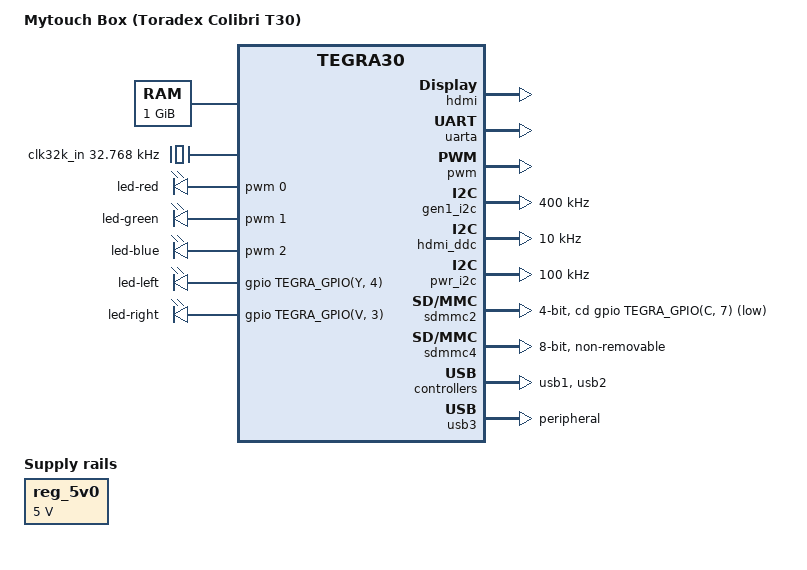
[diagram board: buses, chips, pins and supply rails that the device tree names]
// SPDX-License-Identifier: GPL-2.0
/dts-v1/;

#include <dt-bindings/input/input.h>
#include "tegra30.dtsi"

/ {
	model = "Mytouch Box (Toradex Colibri T30)";
	compatible = "mytouch,box", "nvidia,tegra30";

	chosen {
		stdout-path = &uarta;
	};

	aliases {
		i2c0 = &pwr_i2c;
		i2c1 = &gen1_i2c;
		i2c2 = &hdmi_ddc;

		mmc0 = &sdmmc4;
		mmc1 = &sdmmc2;

		usb0 = &usb1;
		usb1 = &usb2; /* on module only, for ASIX Ethernet */
		usb2 = &usb3;
	};

	memory {
		device_type = "memory";
		reg = <0x80000000 0x40000000>;
	};

	sysinfo {
		compatible = "toradex,sysinfo";
	};

	host1x@50000000 {
		dc@54200000 {
			status = "disabled";
		};

		hdmi: hdmi@54280000 {
			status = "okay";

			hdmi-supply = <&reg_5v0>;
			//pll-supply = <&reg_1v8_avdd_hdmi_pll>;
			//vdd-supply = <&reg_3v3_avdd_hdmi>;

			nvidia,hpd-gpio = <&gpio TEGRA_GPIO(N, 7) GPIO_ACTIVE_HIGH>;
			nvidia,ddc-i2c-bus = <&hdmi_ddc>;
		};
	};

	bsev@6001b000 {
		status = "okay";
	};

	pinmux@70000868 {
		pinctrl-names = "default";
		pinctrl-0 = <&state_default>;

		state_default: pinmux {
			led-rgb-red {
				nvidia,pins = "sdmmc3_dat3_pb4";
				nvidia,function = "pwm0";
				nvidia,pull = <TEGRA_PIN_PULL_NONE>;
				nvidia,tristate = <TEGRA_PIN_DISABLE>;
				nvidia,enable-input = <TEGRA_PIN_DISABLE>;
			};
			led-rgb-green {
				nvidia,pins = "sdmmc3_dat2_pb5";
				nvidia,function = "pwm1";
				nvidia,pull = <TEGRA_PIN_PULL_NONE>;
				nvidia,tristate = <TEGRA_PIN_DISABLE>;
				nvidia,enable-input = <TEGRA_PIN_DISABLE>;
			};
			led-rgb-blue {
				nvidia,pins = "sdmmc3_clk_pa6";
				nvidia,function = "pwm2";
				nvidia,pull = <TEGRA_PIN_PULL_NONE>;
				nvidia,tristate = <TEGRA_PIN_DISABLE>;
				nvidia,enable-input = <TEGRA_PIN_DISABLE>;
			};


			leds-green {
				nvidia,pins = "sdmmc1_dat3_py4",
						"pv3";
				nvidia,function = "rsvd1";
				nvidia,pull = <TEGRA_PIN_PULL_NONE>;
				nvidia,tristate = <TEGRA_PIN_DISABLE>;
				nvidia,enable-input = <TEGRA_PIN_DISABLE>;
			};

			sdmmc4-cmd-pt7 {
				nvidia,pins = "sdmmc4_cmd_pt7",
						"sdmmc4_dat0_paa0",
						"sdmmc4_dat1_paa1",
						"sdmmc4_dat2_paa2",
						"sdmmc4_dat3_paa3",
						"sdmmc4_dat4_paa4",
						"sdmmc4_dat5_paa5",
						"sdmmc4_dat6_paa6",
						"sdmmc4_dat7_paa7";
				nvidia,function = "sdmmc4";
				nvidia,pull = <TEGRA_PIN_PULL_UP>;
				nvidia,tristate = <TEGRA_PIN_DISABLE>;
				nvidia,enable-input = <TEGRA_PIN_ENABLE>;
			};
			sdmmc4-rst-n-pcc3 {
				nvidia,pins = "sdmmc4_rst_n_pcc3";
				nvidia,function = "rsvd1";
				nvidia,pull = <TEGRA_PIN_PULL_DOWN>;
				nvidia,tristate = <TEGRA_PIN_DISABLE>;
				nvidia,enable-input = <TEGRA_PIN_ENABLE>;
			};
			sdmmc4-clk-pcc4 {
				nvidia,pins = "sdmmc4_clk_pcc4";
				nvidia,function = "sdmmc4";
				nvidia,pull = <TEGRA_PIN_PULL_NONE>;
				nvidia,tristate = <TEGRA_PIN_DISABLE>;
				nvidia,enable-input = <TEGRA_PIN_ENABLE>;
			};

			ddc-scl-pv4 {
				nvidia,pins = "ddc_scl_pv4",
						"ddc_sda_pv5";
				nvidia,function = "i2c4";
				nvidia,pull = <TEGRA_PIN_PULL_NONE>;
				nvidia,tristate = <TEGRA_PIN_DISABLE>;
				nvidia,enable-input = <TEGRA_PIN_ENABLE>;
			};

			clk-32k-out-pa0 {
				nvidia,pins = "clk_32k_out_pa0";
				nvidia,function = "blink";
				nvidia,pull = <TEGRA_PIN_PULL_NONE>;
				nvidia,tristate = <TEGRA_PIN_DISABLE>;
				nvidia,enable-input = <TEGRA_PIN_DISABLE>;
			};

			uart3-cts-n-pa1 {
				nvidia,pins = "uart3_cts_n_pa1",
						"uart3_rts_n_pc0",
						"gmi_wp_n_pc7",
						"uart2_cts_n_pj5",
						"uart2_rts_n_pj6",
						"uart3_txd_pw6",
						"uart3_rxd_pw7",
						"spi2_sck_px2",
						"spi1_mosi_px4",
						"spi1_sck_px5",
						"spi1_cs0_n_px6";
				nvidia,function = "gmi";
				nvidia,pull = <TEGRA_PIN_PULL_NONE>;
				nvidia,tristate = <TEGRA_PIN_DISABLE>;
				nvidia,enable-input = <TEGRA_PIN_ENABLE>;
			};

			dap2-fs-pa2 {
				nvidia,pins = "dap2_fs_pa2",
						"dap2_sclk_pa3",
						"dap2_din_pa4",
						"dap2_dout_pa5";
				nvidia,function = "i2s1";
				nvidia,pull = <TEGRA_PIN_PULL_NONE>;
				nvidia,tristate = <TEGRA_PIN_DISABLE>;
				nvidia,enable-input = <TEGRA_PIN_ENABLE>;
			};

			sdmmc3-cmd-pa7 {
				nvidia,pins = "sdmmc3_cmd_pa7",
						"sdmmc3_dat1_pb6",
						"sdmmc3_dat0_pb7",
						"sdmmc3_dat5_pd0",
						"sdmmc3_dat4_pd1";
				nvidia,function = "sdmmc3";
				nvidia,pull = <TEGRA_PIN_PULL_UP>;
				nvidia,tristate = <TEGRA_PIN_DISABLE>;
				nvidia,enable-input = <TEGRA_PIN_ENABLE>;
			};

			gmi-a17-pb0 {
				nvidia,pins = "gmi_a17_pb0";
				nvidia,function = "uartd";
				nvidia,pull = <TEGRA_PIN_PULL_UP>;
				nvidia,tristate = <TEGRA_PIN_DISABLE>;
				nvidia,enable-input = <TEGRA_PIN_ENABLE>;
			};
			gmi-a18-pb1 {
				nvidia,pins = "gmi_a18_pb1",
						"gmi_a16_pj7",
						"gmi_a19_pk7";
				nvidia,function = "uartd";
				nvidia,pull = <TEGRA_PIN_PULL_NONE>;
				nvidia,tristate = <TEGRA_PIN_DISABLE>;
				nvidia,enable-input = <TEGRA_PIN_ENABLE>;
			};

			lcd-pwr0-pb2 {
				nvidia,pins = "lcd_pwr0_pb2",
						"lcd_pclk_pb3",
						"lcd_pwr1_pc1",
						"lcd_pwr2_pc6",
						"lcd_dc1_pd2",
						"lcd_d0_pe0",
						"lcd_d1_pe1",
						"lcd_d2_pe2",
						"lcd_d3_pe3",
						"lcd_d4_pe4",
						"lcd_d5_pe5",
						"lcd_d6_pe6",
						"lcd_d7_pe7",
						"lcd_d8_pf0",
						"lcd_d9_pf1",
						"lcd_d10_pf2",
						"lcd_d11_pf3",
						"lcd_d12_pf4",
						"lcd_d13_pf5",
						"lcd_d14_pf6",
						"lcd_d15_pf7",
						"lcd_de_pj1",
						"lcd_hsync_pj3",
						"lcd_vsync_pj4",
						"lcd_d16_pm0",
						"lcd_d17_pm1",
						"lcd_d18_pm2",
						"lcd_d19_pm3",
						"lcd_d20_pm4",
						"lcd_d21_pm5",
						"lcd_d22_pm6",
						"lcd_d23_pm7",
						"lcd_cs0_n_pn4",
						"lcd_sdout_pn5",
						"lcd_dc0_pn6",
						"lcd_cs1_n_pw0",
						"lcd_m1_pw1",
						"lcd_sdin_pz2",
						"lcd_wr_n_pz3",
						"lcd_sck_pz4";
				nvidia,function = "displaya";
				nvidia,pull = <TEGRA_PIN_PULL_NONE>;
				nvidia,tristate = <TEGRA_PIN_DISABLE>;
				nvidia,enable-input = <TEGRA_PIN_ENABLE>;
			};

			uart2-txd-pc2 {
				nvidia,pins = "uart2_txd_pc2";
				nvidia,function = "uartb";
				nvidia,pull = <TEGRA_PIN_PULL_NONE>;
				nvidia,tristate = <TEGRA_PIN_DISABLE>;
				nvidia,enable-input = <TEGRA_PIN_ENABLE>;
			};
			uart2-rxd-pc3 {
				nvidia,pins = "uart2_rxd_pc3";
				nvidia,function = "uartb";
				nvidia,pull = <TEGRA_PIN_PULL_UP>;
				nvidia,tristate = <TEGRA_PIN_DISABLE>;
				nvidia,enable-input = <TEGRA_PIN_ENABLE>;
			};

			gen1-i2c-scl-pc4 {
				nvidia,pins = "gen1_i2c_scl_pc4",
						"gen1_i2c_sda_pc5";
				nvidia,function = "i2c1";
				nvidia,pull = <TEGRA_PIN_PULL_NONE>;
				nvidia,tristate = <TEGRA_PIN_DISABLE>;
				nvidia,enable-input = <TEGRA_PIN_ENABLE>;
				nvidia,open-drain = <TEGRA_PIN_ENABLE>;
			};

			sdmmc3-dat6-pd3 {
				nvidia,pins = "sdmmc3_dat6_pd3",
						"sdmmc3_dat7_pd4",
						"vi_vsync_pd6",
						"vi_hsync_pd7",
						"ulpi_data3_po4",
						"vi_d10_pt2",
						"vi_d0_pt4",
						"pu0",
						"pu2",
						"pu3",
						"pu6",
						"sdmmc1_dat2_py5",
						"sdmmc1_dat1_py6",
						"sdmmc1_dat0_py7",
						"sdmmc1_clk_pz0",
						"sdmmc1_cmd_pz1";
				nvidia,function = "rsvd1";
				nvidia,pull = <TEGRA_PIN_PULL_NONE>;
				nvidia,tristate = <TEGRA_PIN_DISABLE>;
				nvidia,enable-input = <TEGRA_PIN_ENABLE>;
			};

			vi-d1-pd5 {
				nvidia,pins = "vi_d1_pd5",
						"vi_d2_pl0",
						"vi_d3_pl1",
						"vi_d5_pl3",
						"vi_d7_pl5",
						"kb_row10_ps2";
				nvidia,function = "sdmmc2";
				nvidia,pull = <TEGRA_PIN_PULL_NONE>;
				nvidia,tristate = <TEGRA_PIN_DISABLE>;
				nvidia,enable-input = <TEGRA_PIN_ENABLE>;
			};

			gmi-ad0-pg0 {
				nvidia,pins = "gmi_ad0_pg0",
						"gmi_ad1_pg1",
						"gmi_ad2_pg2",
						"gmi_ad3_pg3",
						"gmi_ad4_pg4",
						"gmi_ad5_pg5",
						"gmi_ad6_pg6",
						"gmi_ad7_pg7",
						"gmi_wr_n_pi0",
						"gmi_oe_n_pi1",
						"gmi_dqs_pi2",
						"gmi_adv_n_pk0",
						"gmi_clk_pk1";
				nvidia,function = "nand";
				nvidia,pull = <TEGRA_PIN_PULL_NONE>;
				nvidia,tristate = <TEGRA_PIN_ENABLE>;
				nvidia,enable-input = <TEGRA_PIN_DISABLE>;
			};

			gmi-ad8-ph0 {
				nvidia,pins = "gmi_ad8_ph0";
				nvidia,function = "pwm0";
				nvidia,pull = <TEGRA_PIN_PULL_NONE>;
				nvidia,tristate = <TEGRA_PIN_DISABLE>;
				nvidia,enable-input = <TEGRA_PIN_DISABLE>;
			};

			gmi-ad9-ph1 {
				nvidia,pins = "gmi_ad9_ph1",
						"pu4";
				nvidia,function = "pwm1";
				nvidia,pull = <TEGRA_PIN_PULL_NONE>;
				nvidia,tristate = <TEGRA_PIN_DISABLE>;
				nvidia,enable-input = <TEGRA_PIN_DISABLE>;
			};

			gmi-ad10-ph2 {
				nvidia,pins = "gmi_ad10_ph2",
						"gmi_ad11_ph3",
						"gmi_ad14_ph6",
						"gmi_cs3_n_pk4";
				nvidia,function = "nand";
				nvidia,pull = <TEGRA_PIN_PULL_NONE>;
				nvidia,tristate = <TEGRA_PIN_DISABLE>;
				nvidia,enable-input = <TEGRA_PIN_DISABLE>;
			};
			gmi-ad12-ph4 {
				nvidia,pins = "gmi_ad12_ph4",
						"gmi_ad13_ph5",
						"gmi_cs7_n_pi6";
				nvidia,function = "nand";
				nvidia,pull = <TEGRA_PIN_PULL_UP>;
				nvidia,tristate = <TEGRA_PIN_DISABLE>;
				nvidia,enable-input = <TEGRA_PIN_ENABLE>;
			};

			gmi-iordy-pi5 {
				nvidia,pins = "gmi_iordy_pi5",
						"gmi_cs2_n_pk3",
						"vi_d11_pt3",
						"pv0";
				nvidia,function = "rsvd1";
				nvidia,pull = <TEGRA_PIN_PULL_UP>;
				nvidia,tristate = <TEGRA_PIN_DISABLE>;
				nvidia,enable-input = <TEGRA_PIN_ENABLE>;
			};

			gmi-wait-pi7 {
				nvidia,pins = "gmi_wait_pi7";
				nvidia,function = "nand";
				nvidia,pull = <TEGRA_PIN_PULL_UP>;
				nvidia,tristate = <TEGRA_PIN_ENABLE>;
				nvidia,enable-input = <TEGRA_PIN_DISABLE>;
			};

			spdif-out-pk5 {
				nvidia,pins = "spdif_out_pk5";
				nvidia,function = "spdif";
				nvidia,pull = <TEGRA_PIN_PULL_NONE>;
				nvidia,tristate = <TEGRA_PIN_DISABLE>;
				nvidia,enable-input = <TEGRA_PIN_DISABLE>;
			};
			spdif-in-pk6 {
				nvidia,pins = "spdif_in_pk6";
				nvidia,function = "spdif";
				nvidia,pull = <TEGRA_PIN_PULL_NONE>;
				nvidia,tristate = <TEGRA_PIN_DISABLE>;
				nvidia,enable-input = <TEGRA_PIN_ENABLE>;
			};

			vi-d4-pl2 {
				nvidia,pins = "vi_d4_pl2",
						"vi_d6_pl4";
				nvidia,function = "vi";
				nvidia,pull = <TEGRA_PIN_PULL_NONE>;
				nvidia,tristate = <TEGRA_PIN_DISABLE>;
				nvidia,enable-input = <TEGRA_PIN_DISABLE>;
			};
			vi-d8-pl6 {
				nvidia,pins = "vi_d8_pl6",
						"vi_d9_pl7";
				nvidia,function = "vi";
				nvidia,pull = <TEGRA_PIN_PULL_NONE>;
				nvidia,tristate = <TEGRA_PIN_DISABLE>;
				nvidia,enable-input = <TEGRA_PIN_ENABLE>;
			};

			dap1-fs-pn0 {
				nvidia,pins = "dap1_fs_pn0",
						"dap1_din_pn1",
						"dap1_dout_pn2",
						"dap1_sclk_pn3";
				nvidia,function = "i2s0";
				nvidia,pull = <TEGRA_PIN_PULL_NONE>;
				nvidia,tristate = <TEGRA_PIN_DISABLE>;
				nvidia,enable-input = <TEGRA_PIN_ENABLE>;
			};

			hdmi-int-pn7 {
				nvidia,pins = "hdmi_int_pn7",
						"pbb0",
						"pcc1";
				nvidia,function = "rsvd1";
				nvidia,pull = <TEGRA_PIN_PULL_NONE>;
				nvidia,tristate = <TEGRA_PIN_ENABLE>;
				nvidia,enable-input = <TEGRA_PIN_ENABLE>;
			};

			ulpi-data7-po0 {
				nvidia,pins = "ulpi_data7_po0",
						"ulpi_data0_po1";
				nvidia,function = "uarta";
				nvidia,pull = <TEGRA_PIN_PULL_NONE>;
				nvidia,tristate = <TEGRA_PIN_DISABLE>;
				nvidia,enable-input = <TEGRA_PIN_DISABLE>;
			};
			ulpi-data1-po2 {
				nvidia,pins = "ulpi_data1_po2";
				nvidia,function = "uarta";
				nvidia,pull = <TEGRA_PIN_PULL_UP>;
				nvidia,tristate = <TEGRA_PIN_DISABLE>;
				nvidia,enable-input = <TEGRA_PIN_ENABLE>;
			};
			ulpi-data2-po3 {
				nvidia,pins = "ulpi_data2_po3",
						"ulpi_data4_po5",
						"ulpi_data5_po6",
						"ulpi_data6_po7";
				nvidia,function = "uarta";
				nvidia,pull = <TEGRA_PIN_PULL_NONE>;
				nvidia,tristate = <TEGRA_PIN_DISABLE>;
				nvidia,enable-input = <TEGRA_PIN_ENABLE>;
			};

			dap3-fs-pp0 {
				nvidia,pins = "dap3_fs_pp0",
						"dap3_din_pp1",
						"dap3_dout_pp2",
						"dap3_sclk_pp3";
				nvidia,function = "i2s2";
				nvidia,pull = <TEGRA_PIN_PULL_NONE>;
				nvidia,tristate = <TEGRA_PIN_DISABLE>;
				nvidia,enable-input = <TEGRA_PIN_ENABLE>;
			};

			dap4-fs-pp4 {
				nvidia,pins = "dap4_fs_pp4",
						"dap4_din_pp5",
						"dap4_dout_pp6",
						"dap4_sclk_pp7";
				nvidia,function = "i2s3";
				nvidia,pull = <TEGRA_PIN_PULL_NONE>;
				nvidia,tristate = <TEGRA_PIN_DISABLE>;
				nvidia,enable-input = <TEGRA_PIN_ENABLE>;
			};

			kb-col0-pq0 {
				nvidia,pins = "kb_col0_pq0",
						"kb_col1_pq1",
						"kb_col2_pq2",
						"kb_col3_pq3",
						"kb_col4_pq4",
						"kb_col5_pq5",
						"kb_col6_pq6",
						"kb_col7_pq7";
				nvidia,function = "kbc";
				nvidia,pull = <TEGRA_PIN_PULL_UP>;
				nvidia,tristate = <TEGRA_PIN_DISABLE>;
				nvidia,enable-input = <TEGRA_PIN_ENABLE>;
			};

			kb-row0-pr0 {
				nvidia,pins = "kb_row0_pr0",
						"kb_row1_pr1",
						"kb_row2_pr2",
						"kb_row3_pr3";
				nvidia,function = "rsvd2";
				nvidia,pull = <TEGRA_PIN_PULL_NONE>;
				nvidia,tristate = <TEGRA_PIN_ENABLE>;
				nvidia,enable-input = <TEGRA_PIN_ENABLE>;
			};

			kb-row4-pr4 {
				nvidia,pins = "kb_row4_pr4";
				nvidia,function = "rsvd3";
				nvidia,pull = <TEGRA_PIN_PULL_NONE>;
				nvidia,tristate = <TEGRA_PIN_ENABLE>;
				nvidia,enable-input = <TEGRA_PIN_ENABLE>;
			};

			kb-row5-pr5 {
				nvidia,pins = "kb_row5_pr5",
						"kb_row6_pr6",
						"kb_row7_pr7",
						"kb_row8_ps0",
						"kb_row9_ps1";
				nvidia,function = "kbc";
				nvidia,pull = <TEGRA_PIN_PULL_NONE>;
				nvidia,tristate = <TEGRA_PIN_ENABLE>;
				nvidia,enable-input = <TEGRA_PIN_ENABLE>;
			};

			kb-row11-ps3 {
				nvidia,pins = "kb_row11_ps3",
						"kb_row12_ps4",
						"kb_row13_ps5",
						"kb_row14_ps6",
						"kb_row15_ps7";
				nvidia,function = "sdmmc2";
				nvidia,pull = <TEGRA_PIN_PULL_UP>;
				nvidia,tristate = <TEGRA_PIN_DISABLE>;
				nvidia,enable-input = <TEGRA_PIN_ENABLE>;
			};

			vi-pclk-pt0 {
				nvidia,pins = "vi_pclk_pt0";
				nvidia,function = "rsvd1";
				nvidia,pull = <TEGRA_PIN_PULL_UP>;
				nvidia,tristate = <TEGRA_PIN_ENABLE>;
				nvidia,enable-input = <TEGRA_PIN_ENABLE>;
			};

			vi-mclk-pt1 {
				nvidia,pins = "vi_mclk_pt1";
				nvidia,function = "vi";
				nvidia,pull = <TEGRA_PIN_PULL_UP>;
				nvidia,tristate = <TEGRA_PIN_DISABLE>;
				nvidia,enable-input = <TEGRA_PIN_ENABLE>;
			};

			gen2-i2c-scl-pt5 {
				nvidia,pins = "gen2_i2c_scl_pt5",
						"gen2_i2c_sda_pt6";
				nvidia,function = "i2c2";
				nvidia,pull = <TEGRA_PIN_PULL_NONE>;
				nvidia,tristate = <TEGRA_PIN_DISABLE>;
				nvidia,enable-input = <TEGRA_PIN_ENABLE>;
				nvidia,open-drain = <TEGRA_PIN_DISABLE>;
			};

			pu1 {
				nvidia,pins = "pu1";
				nvidia,function = "rsvd1";
				nvidia,pull = <TEGRA_PIN_PULL_NONE>;
				nvidia,tristate = <TEGRA_PIN_DISABLE>;
				nvidia,enable-input = <TEGRA_PIN_DISABLE>;
			};

			pu5 {
				nvidia,pins = "pu5";
				nvidia,function = "pwm2";
				nvidia,pull = <TEGRA_PIN_PULL_NONE>;
				nvidia,tristate = <TEGRA_PIN_DISABLE>;
				nvidia,enable-input = <TEGRA_PIN_DISABLE>;
			};

			jtag-rtck-pu7 {
				nvidia,pins = "jtag_rtck_pu7";
				nvidia,function = "rtck";
				nvidia,pull = <TEGRA_PIN_PULL_NONE>;
				nvidia,tristate = <TEGRA_PIN_DISABLE>;
				nvidia,enable-input = <TEGRA_PIN_DISABLE>;
			};

			pv2 {
				nvidia,pins = "pv2";
				nvidia,function = "owr";
				nvidia,pull = <TEGRA_PIN_PULL_NONE>;
				nvidia,tristate = <TEGRA_PIN_DISABLE>;
				nvidia,enable-input = <TEGRA_PIN_DISABLE>;
			};

			crt-hsync-pv6 {
				nvidia,pins = "crt_hsync_pv6",
						"crt_vsync_pv7";
				nvidia,function = "crt";
				nvidia,pull = <TEGRA_PIN_PULL_NONE>;
				nvidia,tristate = <TEGRA_PIN_DISABLE>;
				nvidia,enable-input = <TEGRA_PIN_DISABLE>;
			};

			spi2-cs1-n-pw2 {
				nvidia,pins = "spi2_cs1_n_pw2";
				nvidia,function = "spi2";
				nvidia,pull = <TEGRA_PIN_PULL_UP>;
				nvidia,tristate = <TEGRA_PIN_DISABLE>;
				nvidia,enable-input = <TEGRA_PIN_ENABLE>;
			};

			clk1-out-pw4 {
				nvidia,pins = "clk1_out_pw4";
				nvidia,function = "extperiph1";
				nvidia,pull = <TEGRA_PIN_PULL_NONE>;
				nvidia,tristate = <TEGRA_PIN_DISABLE>;
				nvidia,enable-input = <TEGRA_PIN_ENABLE>;
			};

			clk2-out-pw5 {
				nvidia,pins = "clk2_out_pw5";
				nvidia,function = "extperiph2";
				nvidia,pull = <TEGRA_PIN_PULL_NONE>;
				nvidia,tristate = <TEGRA_PIN_DISABLE>;
				nvidia,enable-input = <TEGRA_PIN_ENABLE>;
			};

			spi1-miso-px7 {
				nvidia,pins = "spi1_miso_px7";
				nvidia,function = "rsvd4";
				nvidia,pull = <TEGRA_PIN_PULL_NONE>;
				nvidia,tristate = <TEGRA_PIN_DISABLE>;
				nvidia,enable-input = <TEGRA_PIN_ENABLE>;
			};

			ulpi-clk-py0 {
				nvidia,pins = "ulpi_clk_py0",
						"ulpi_dir_py1",
						"ulpi_nxt_py2",
						"ulpi_stp_py3";
				nvidia,function = "spi1";
				nvidia,pull = <TEGRA_PIN_PULL_NONE>;
				nvidia,tristate = <TEGRA_PIN_DISABLE>;
				nvidia,enable-input = <TEGRA_PIN_ENABLE>;
			};

			sys-clk-req-pz5 {
				nvidia,pins = "sys_clk_req_pz5";
				nvidia,function = "sysclk";
				nvidia,pull = <TEGRA_PIN_PULL_NONE>;
				nvidia,tristate = <TEGRA_PIN_DISABLE>;
				nvidia,enable-input = <TEGRA_PIN_DISABLE>;
			};

			pwr-i2c-scl-pz6 {
				nvidia,pins = "pwr_i2c_scl_pz6",
						"pwr_i2c_sda_pz7";
				nvidia,function = "i2cpwr";
				nvidia,pull = <TEGRA_PIN_PULL_NONE>;
				nvidia,tristate = <TEGRA_PIN_DISABLE>;
				nvidia,enable-input = <TEGRA_PIN_ENABLE>;
				nvidia,open-drain = <TEGRA_PIN_ENABLE>;
			};

			cam-i2c-scl-pbb1 {
				nvidia,pins = "cam_i2c_scl_pbb1",
						"cam_i2c_sda_pbb2";
				nvidia,function = "i2c3";
				nvidia,pull = <TEGRA_PIN_PULL_NONE>;
				nvidia,tristate = <TEGRA_PIN_ENABLE>;
				nvidia,enable-input = <TEGRA_PIN_ENABLE>;
				nvidia,open-drain = <TEGRA_PIN_ENABLE>;
			};

			pbb3 {
				nvidia,pins = "pbb3";
				nvidia,function = "vgp3";
				nvidia,pull = <TEGRA_PIN_PULL_NONE>;
				nvidia,tristate = <TEGRA_PIN_ENABLE>;
				nvidia,enable-input = <TEGRA_PIN_ENABLE>;
			};
			pbb4 {
				nvidia,pins = "pbb4";
				nvidia,function = "vgp4";
				nvidia,pull = <TEGRA_PIN_PULL_NONE>;
				nvidia,tristate = <TEGRA_PIN_DISABLE>;
				nvidia,enable-input = <TEGRA_PIN_ENABLE>;
			};
			pbb5 {
				nvidia,pins = "pbb5";
				nvidia,function = "vgp5";
				nvidia,pull = <TEGRA_PIN_PULL_NONE>;
				nvidia,tristate = <TEGRA_PIN_DISABLE>;
				nvidia,enable-input = <TEGRA_PIN_ENABLE>;
			};
			pbb6 {
				nvidia,pins = "pbb6";
				nvidia,function = "vgp6";
				nvidia,pull = <TEGRA_PIN_PULL_NONE>;
				nvidia,tristate = <TEGRA_PIN_DISABLE>;
				nvidia,enable-input = <TEGRA_PIN_ENABLE>;
			};

			pbb7 {
				nvidia,pins = "pbb7",
						"pcc2";
				nvidia,function = "i2s4";
				nvidia,pull = <TEGRA_PIN_PULL_NONE>;
				nvidia,tristate = <TEGRA_PIN_DISABLE>;
				nvidia,enable-input = <TEGRA_PIN_ENABLE>;
			};

			cam-mclk-pcc0 {
				nvidia,pins = "cam_mclk_pcc0";
				nvidia,function = "vi_alt2";
				nvidia,pull = <TEGRA_PIN_PULL_UP>;
				nvidia,tristate = <TEGRA_PIN_ENABLE>;
				nvidia,enable-input = <TEGRA_PIN_ENABLE>;
			};

			clk2-req-pcc5 {
				nvidia,pins = "clk2_req_pcc5",
						"clk1_req_pee2";
				nvidia,function = "dap";
				nvidia,pull = <TEGRA_PIN_PULL_NONE>;
				nvidia,tristate = <TEGRA_PIN_DISABLE>;
				nvidia,enable-input = <TEGRA_PIN_ENABLE>;
			};

			pex-l2-rst-n-pcc6 {
				nvidia,pins = "pex_l2_rst_n_pcc6",
						"pex_l0_rst_n_pdd1",
						"pex_l1_rst_n_pdd5";
				nvidia,function = "pcie";
				nvidia,pull = <TEGRA_PIN_PULL_NONE>;
				nvidia,tristate = <TEGRA_PIN_DISABLE>;
				nvidia,enable-input = <TEGRA_PIN_DISABLE>;
			};
			pex-l2-clkreq-n-pcc7 {
				nvidia,pins = "pex_l2_clkreq_n_pcc7",
						"pex_wake_n_pdd3",
						"pex_l1_prsnt_n_pdd4",
						"pex_l1_clkreq_n_pdd6",
						"pex_l2_prsnt_n_pdd7";
				nvidia,function = "pcie";
				nvidia,pull = <TEGRA_PIN_PULL_NONE>;
				nvidia,tristate = <TEGRA_PIN_DISABLE>;
				nvidia,enable-input = <TEGRA_PIN_ENABLE>;
			};

			pex-l0-prsnt-n-pdd0 {
				nvidia,pins = "pex_l0_prsnt_n_pdd0",
						"pex_l0_clkreq_n_pdd2";
				nvidia,function = "rsvd2";
				nvidia,pull = <TEGRA_PIN_PULL_NONE>;
				nvidia,tristate = <TEGRA_PIN_DISABLE>;
				nvidia,enable-input = <TEGRA_PIN_DISABLE>;
			};

			clk3-out-pee0 {
				nvidia,pins = "clk3_out_pee0";
				nvidia,function = "extperiph3";
				nvidia,pull = <TEGRA_PIN_PULL_NONE>;
				nvidia,tristate = <TEGRA_PIN_DISABLE>;
				nvidia,enable-input = <TEGRA_PIN_DISABLE>;
			};

			clk3-req-pee1 {
				nvidia,pins = "clk3_req_pee1";
				nvidia,function = "dev3";
				nvidia,pull = <TEGRA_PIN_PULL_NONE>;
				nvidia,tristate = <TEGRA_PIN_DISABLE>;
				nvidia,enable-input = <TEGRA_PIN_ENABLE>;
			};

			hdmi-cec-pee3 {
				nvidia,pins = "hdmi_cec_pee3";
				nvidia,function = "cec";
				nvidia,pull = <TEGRA_PIN_PULL_NONE>;
				nvidia,tristate = <TEGRA_PIN_DISABLE>;
				nvidia,enable-input = <TEGRA_PIN_ENABLE>;
				nvidia,open-drain = <TEGRA_PIN_DISABLE>;
			};

			owr {
				nvidia,pins = "owr";
				nvidia,function = "owr";
				nvidia,pull = <TEGRA_PIN_PULL_NONE>;
				nvidia,tristate = <TEGRA_PIN_DISABLE>;
				nvidia,enable-input = <TEGRA_PIN_ENABLE>;
			};
		};
	};

	uarta: serial@70006000 {
		status = "okay";
	};

	pwm: pwm@7000a000 {
		status = "okay";
	};

	/*
	 * GEN1_I2C: I2C_SDA/SCL on SODIMM pin 194/196 (e.g. RTC on carrier
	 * board)
	 */
	gen1_i2c: i2c@7000c000 {
		status = "okay";
		clock-frequency = <400000>;
	};

	/* DDC_CLOCK/DATA on X3 pin 15/16 (e.g. display EDID) */
	hdmi_ddc: i2c@7000c700 {
		status = "okay";
		clock-frequency = <10000>;
	};

	/*
	 * PWR_I2C: power I2C to audio codec, PMIC, temperature sensor and
	 * touch screen controller
	 */
	pwr_i2c: i2c@7000d000 {
		status = "okay";
		clock-frequency = <100000>;
#if 0
		pmic: pmic@2d {
			compatible = "ti,tps65911";
			reg = <0x2d>;

			interrupts = <GIC_SPI 86 IRQ_TYPE_LEVEL_HIGH>;
			#interrupt-cells = <2>;
			interrupt-controller;
			wakeup-source;

			ti,system-power-controller;

			#gpio-cells = <2>;
			gpio-controller;

			/*
			vcc1-supply = <&reg_module_3v3>;
			vcc2-supply = <&reg_module_3v3>;
			vcc3-supply = <&reg_1v8_vio>;
			vcc4-supply = <&reg_module_3v3>;
			vcc5-supply = <&reg_module_3v3>;
			vcc6-supply = <&reg_1v8_vio>;
			vcc7-supply = <&reg_5v0_charge_pump>;
			vccio-supply = <&reg_module_3v3>;
			*/

			regulators {
				vdd1_reg: vdd1 {
					regulator-name = "+V1.35_VDDIO_DDR";
					regulator-min-microvolt = <1350000>;
					regulator-max-microvolt = <1350000>;
					regulator-always-on;
				};

				/* SW2: unused */
				/*
				vddctrl_reg: vddctrl {
					regulator-name = "+V1.0_VDD_CPU";
					regulator-min-microvolt = <800000>;
					regulator-max-microvolt = <1250000>;
					regulator-coupled-with = <&vdd_core>;
					regulator-coupled-max-spread = <300000>;
					regulator-max-step-microvolt = <100000>;
					regulator-always-on;

					nvidia,tegra-cpu-regulator;
				};
				*/

				reg_1v8_vio: vio {
					regulator-name = "+V1.8";
					regulator-min-microvolt = <1800000>;
					regulator-max-microvolt = <1800000>;
					regulator-always-on;
				};

				/* LDO1: unused */

				/*
				 * EN_+V3.3 switching via FET:
				 * +V3.3_AUDIO_AVDD_S, +V3.3 and +V1.8_VDD_LAN
				 * see also +V3.3 fixed supply
				 */
				ldo2_reg: ldo2 {
					regulator-name = "EN_+V3.3";
					regulator-min-microvolt = <3300000>;
					regulator-max-microvolt = <3300000>;
					regulator-always-on;
				};

				/* LDO3: unused */

				ldo4_reg: ldo4 {
					regulator-name = "+V1.2_VDD_RTC";
					regulator-min-microvolt = <1200000>;
					regulator-max-microvolt = <1200000>;
					regulator-always-on;
				};

				/*
				 * +V2.8_AVDD_VDAC:
				 * only required for (unsupported) analog RGB
				 */
				ldo5_reg: ldo5 {
					regulator-name = "+V2.8_AVDD_VDAC";
					regulator-min-microvolt = <2800000>;
					regulator-max-microvolt = <2800000>;
					regulator-always-on;
				};

				/*
				 * +V1.05_AVDD_PLLE: avdd_plle should be 1.05V
				 * but LDO6 can't set voltage in 50mV
				 * granularity
				 */
				ldo6_reg: ldo6 {
					regulator-name = "+V1.05_AVDD_PLLE";
					regulator-min-microvolt = <1100000>;
					regulator-max-microvolt = <1100000>;
				};

				ldo7_reg: ldo7 {
					regulator-name = "+V1.2_AVDD_PLL";
					regulator-min-microvolt = <1200000>;
					regulator-max-microvolt = <1200000>;
					regulator-always-on;
				};

				ldo8_reg: ldo8 {
					regulator-name = "+V1.0_VDD_DDR_HS";
					regulator-min-microvolt = <1000000>;
					regulator-max-microvolt = <1000000>;
					regulator-always-on;
				};
			};
		};
#endif
	};

	/* SD Card */
	sdmmc2: mmc@78000200 {
		status = "okay";
		bus-width = <4>;
		cd-gpios = <&gpio TEGRA_GPIO(C, 7) GPIO_ACTIVE_LOW>; /* MMCD */
	};

	/* eMMC */
	sdmmc4: mmc@78000600 {
		status = "okay";
		bus-width = <8>;
		non-removable;
	};

	/* EHCI instance 2: USB3_DP/N -> USBH_P/N */
	usb1: usb@7d008000 {
		status = "okay";
		/* USBH_PEN */
		nvidia,vbus-gpio = <&gpio TEGRA_GPIO(W, 2) GPIO_ACTIVE_LOW>;
	};

	/* EHCI instance 1: USB2_DP/N -> AX88772B */
	usb2: usb@7d004000 {
		status = "okay";
		/* VBUS_LAN */
		nvidia,vbus-gpio = <&gpio TEGRA_GPIO(DD, 2) GPIO_ACTIVE_HIGH>;
	};

	/* EHCI instance 0: USB1_DP/N -> USBC_P/N */
	usb3: usb@7d000000 {
		status = "okay";
		dr_mode = "peripheral";
	};

	/* PMIC has a built-in 32KHz oscillator which is used by PMC */
	clk32k_in: clock-32k {
		compatible = "fixed-clock";
		#clock-cells = <0>;
		clock-frequency = <32768>;
		clock-output-names = "pmic-oscillator";
	};

	rgb-led {
		compatible = "pwm-leds";

		red {
			label = "led-red";
			pwms = <&pwm 0 100000 0>;
			max-brightness = <255>;
			u-boot,default-brightness = <5>;
			default-state = "off";
			active-low;
		};

		green {
			label = "led-green";
			pwms = <&pwm 1 100000 0>;
			max-brightness = <255>;
			u-boot,default-brightness = <5>;
			default-state = "on";
			active-low;
		};

		blue {
			label = "led-blue";
			pwms = <&pwm 2 100000 0>;
			max-brightness = <255>;
			u-boot,default-brightness = <5>;
			default-state = "off";
			active-low;
		};
	};

	reg_5v0: regulator-5v0 {
		compatible = "regulator-fixed";
		regulator-name = "5V_SW";
		regulator-min-microvolt = <5000000>;
		regulator-max-microvolt = <5000000>;
	};

#if 0
	reg_module_3v3: regulator-module-3v3 {
		compatible = "regulator-fixed";
		regulator-name = "+V3.3";
		regulator-min-microvolt = <3300000>;
		regulator-max-microvolt = <3300000>;
		regulator-always-on;
	};

	reg_1v8_avdd_hdmi_pll: regulator-1v8-avdd-hdmi-pll {
		compatible = "regulator-fixed";
		regulator-name = "+V1.8_AVDD_HDMI_PLL";
		regulator-min-microvolt = <1800000>;
		regulator-max-microvolt = <1800000>;
		enable-active-high;
		gpio = <&pmic 6 GPIO_ACTIVE_HIGH>;
		vin-supply = <&reg_1v8_vio>;
	};

	reg_3v3_avdd_hdmi: regulator-3v3-avdd-hdmi {
		compatible = "regulator-fixed";
		regulator-name = "+V3.3_AVDD_HDMI";
		regulator-min-microvolt = <3300000>;
		regulator-max-microvolt = <3300000>;
		enable-active-high;
		gpio = <&pmic 6 GPIO_ACTIVE_HIGH>;
		vin-supply = <&reg_module_3v3>;
	};
#endif

	run-control {
		compatible = "gpio-leds";

		left  {
			label = "led-left";
			gpios = <&gpio TEGRA_GPIO(Y, 4) GPIO_ACTIVE_HIGH>;
			default-state = "off";
		};

		right  {
			label = "led-right";
			gpios = <&gpio TEGRA_GPIO(V, 3) GPIO_ACTIVE_HIGH>;
			default-state = "off";
		};
	};
};
